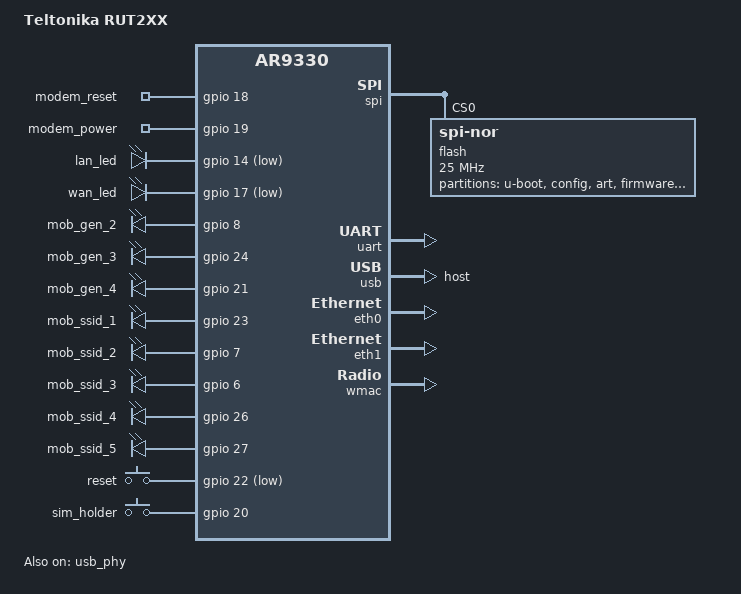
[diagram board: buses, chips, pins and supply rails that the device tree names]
// SPDX-License-Identifier: GPL-2.0-or-later OR MIT
/dts-v1/;

#include <dt-bindings/gpio/gpio.h>
#include <dt-bindings/input/input.h>
#include "ar9330.dtsi"
#include "platform_name.dtsi"

/ {
	compatible = "teltonika,rut2xx", "qca,ar9330";
	model = "Teltonika RUT2XX";

	aliases {
		serial0 = &uart;
	};

	gpio-export {
		compatible = "gpio-export";
		#size-cells = <0>;

		gpio_modem_reset {
			gpio-export,name = "modem_reset";
			gpio-export,output = <0>;
			gpios = <&gpio 18 GPIO_ACTIVE_HIGH>;
		};

		gpio_modem_power {
			gpio-export,name = "modem_power";
			gpio-export,output = <0>;
			gpios = <&gpio 19 GPIO_ACTIVE_HIGH>;
		};
	};

	leds {
		compatible = "gpio-leds";

		lan_led {
			label = "lan_led";
			gpios = <&gpio 14 GPIO_ACTIVE_LOW>;
		};

		wan_led {
			label = "wan_led";
			gpios = <&gpio 17 GPIO_ACTIVE_LOW>;
		};

		led_gen_2 {
			label = "mob_gen_2";
			gpios = <&gpio 8 GPIO_ACTIVE_HIGH>;
		};

		led_gen_3 {
			label = "mob_gen_3";
			gpios = <&gpio 24 GPIO_ACTIVE_HIGH>;
		};

		led_gen_4 {
			label = "mob_gen_4";
			gpios = <&gpio 21 GPIO_ACTIVE_HIGH>;
		};

		led_ssid_1 {
			label = "mob_ssid_1";
			gpios = <&gpio 23 GPIO_ACTIVE_HIGH>;
			linux,default-trigger = "timer";
		};

		led_ssid_2 {
			label = "mob_ssid_2";
			gpios = <&gpio 7 GPIO_ACTIVE_HIGH>;
			linux,default-trigger = "timer";
		};

		led_ssid_3 {
			label = "mob_ssid_3";
			gpios = <&gpio 6 GPIO_ACTIVE_HIGH>;
			linux,default-trigger = "timer";
		};

		led_ssid_4 {
			label = "mob_ssid_4";
			gpios = <&gpio 26 GPIO_ACTIVE_HIGH>;
			linux,default-trigger = "timer";
		};

		led_ssid_5 {
			label = "mob_ssid_5";
			gpios = <&gpio 27 GPIO_ACTIVE_HIGH>;
			linux,default-trigger = "timer";
		};
	};

	keys {
		compatible = "gpio-keys";

		reset {
			label = "reset";
			linux,code = <KEY_RESTART>;
			gpios = <&gpio 22 GPIO_ACTIVE_LOW>;
		};

		sim_holder {
			label = "sim_holder";
			linux,code = <BTN_0>;
			gpios = <&gpio 20 GPIO_ACTIVE_HIGH>;
		};
	};
};

&spi {
	status = "okay";
	num-cs = <1>;

	flash@0 {
		compatible = "jedec,spi-nor";
		reg = <0>;
		spi-max-frequency = <25000000>;

		partitions {
			compatible = "fixed-partitions";
			#address-cells = <1>;
			#size-cells = <1>;

			partition@0 {
				label = "u-boot";
				reg = <0x000000 0x020000>;
				read-only;
			};

			config: partition@20000 {
				label = "config";
				reg = <0x020000 0x010000>;
				read-only;
			};

			art: partition@30000 {
				label = "art";
				reg = <0x030000 0x010000>;
				read-only;
			};

			partition@40000 {
				label = "firmware";
				reg = <0x040000 0xf30000>;
				compatible = "tplink,firmware";
			};

			partition@f70000 {
				label = "event-log";
				reg = <0xf70000 0x090000>;
			};
		};
	};
};

&uart {
	status = "okay";
};

&gpio {
	status = "okay";
};

&usb {
	dr_mode = "host";
	status = "okay";
};

&usb_phy {
	status = "okay";
};

&eth0 {
	status = "okay";
	mtd-mac-address = <&config 0x0>;
	mtd-mac-address-increment = <1>;
};

&eth1 {
	status = "okay";
	mtd-mac-address = <&config 0x0>;

	gmac-config {
		device = <&gmac>;
		switch-phy-addr-swap = <0>;
		switch-phy-swap = <0>;
	};
};

&wmac {
	status = "okay";
	mtd-mac-address = <&config 0x0>;
	mtd-mac-address-increment = <2>;
	mtd-cal-data = <&art 0x1000>;
};
